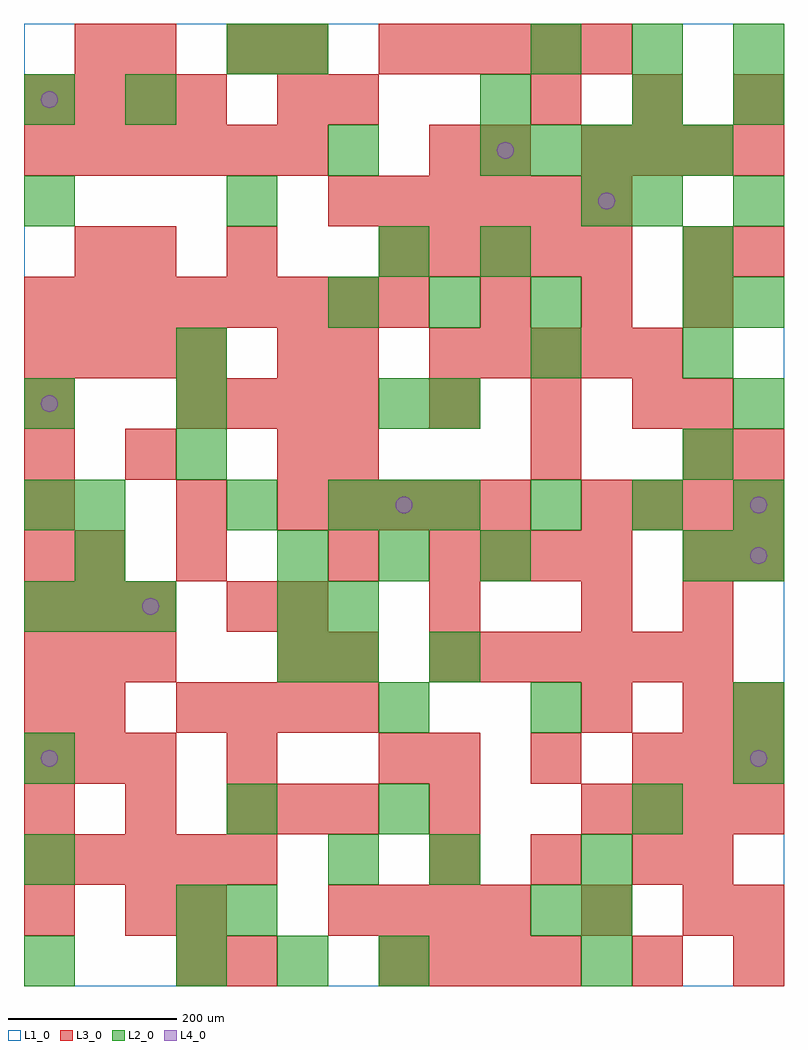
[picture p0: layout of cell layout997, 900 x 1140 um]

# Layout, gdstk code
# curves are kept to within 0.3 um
import gdstk
lib = gdstk.Library(unit=1e-6, precision=1e-09)
def R(c, l, rs):  # rectangles x0, y0, x1, y1
    for r in rs: c.add(gdstk.rectangle(r[:2], r[2:], *l))
def A(c, l, x, y, w, h, nx, ny, dx, dy):  # array of equal rectangles
    R(c, l, [(x+i*dx, y+j*dy, x+i*dx+w, y+j*dy+h) for i in range(nx) for j in range(ny)])
def P(c, l, *ps):  # polygons
    for p in ps: c.add(gdstk.Polygon(p, *l))
L1_0 = (1, 0)
L2_0 = (2, 0)
L3_0 = (3, 0)
L4_0 = (4, 0)

layout997 = lib.new_cell('layout997')
R(layout997, L1_0, [(0,0,900,1140)])
A(layout997, L2_0, 0, 0, 60, 60, 1, 3, 0, 120)
A(layout997, L2_0, 180, 0, 60, 60, 3, 1, 120, 0)
A(layout997, L2_0, 660, 0, 60, 60, 1, 3, 0, 60)
A(layout997, L2_0, 240, 180, 60, 60, 1, 3, 0, 360)
A(layout997, L2_0, 840, 300, 60, 60, 1, 3, 0, 180)
A(layout997, L2_0, 0, 420, 60, 60, 3, 1, 60, 0)
A(layout997, L2_0, 300, 480, 60, 60, 3, 1, 120, 0)
A(layout997, L2_0, 780, 480, 60, 60, 1, 3, 0, 120)
A(layout997, L2_0, 360, 540, 60, 60, 3, 1, 60, 0)
A(layout997, L2_0, 600, 540, 60, 60, 3, 2, 120, 540)
A(layout997, L2_0, 180, 600, 60, 60, 1, 3, 0, 60)
A(layout997, L2_0, 360, 780, 60, 60, 3, 1, 120, 0)
A(layout997, L2_0, 840, 780, 60, 60, 1, 3, 0, 120)
A(layout997, L2_0, 540, 960, 60, 60, 5, 1, 60, 0)
R(layout997, L2_0, [(180,60,240,120), (240,60,300,120), (600,60,660,120), (360,120,420,180), (480,120,540,180), (420,180,480,240), (720,180,780,240), (840,240,900,300), (420,300,480,360), (600,300,660,360), (300,360,360,420), (360,360,420,420), (480,360,540,420), (300,420,360,480), (360,420,420,480), (60,480,120,540), (0,540,60,600), (60,540,120,600), (0,660,60,720), (420,660,480,720), (480,660,540,720), (600,720,660,780), (780,780,840,840), (420,840,480,900), (540,840,600,900), (780,840,840,900), (0,900,60,960), (660,900,720,960), (720,900,780,960), (360,960,420,1020), (0,1020,60,1080), (120,1020,180,1080), (540,1020,600,1080), (720,1020,780,1080), (240,1080,300,1140), (300,1080,360,1140)])
A(layout997, L3_0, 420, 0, 60, 60, 4, 1, 60, 0)
A(layout997, L3_0, 360, 60, 60, 60, 4, 1, 60, 0)
A(layout997, L3_0, 0, 120, 60, 60, 5, 1, 60, 0)
A(layout997, L3_0, 480, 120, 60, 60, 3, 2, 120, 120)
A(layout997, L3_0, 0, 180, 60, 60, 3, 1, 120, 0)
A(layout997, L3_0, 660, 180, 60, 60, 4, 2, 60, 360)
A(layout997, L3_0, 0, 240, 60, 60, 3, 2, 60, 120)
A(layout997, L3_0, 180, 300, 60, 60, 4, 2, 60, 360)
A(layout997, L3_0, 360, 360, 60, 60, 1, 4, 0, 120)
A(layout997, L3_0, 480, 360, 60, 60, 6, 1, 60, 0)
A(layout997, L3_0, 0, 420, 60, 60, 3, 1, 60, 0)
A(layout997, L3_0, 300, 420, 60, 60, 3, 1, 180, 0)
A(layout997, L3_0, 0, 480, 60, 60, 1, 4, 0, 60)
A(layout997, L3_0, 480, 480, 60, 60, 4, 1, 60, 0)
A(layout997, L3_0, 300, 540, 60, 60, 5, 1, 60, 0)
A(layout997, L3_0, 120, 600, 60, 60, 1, 3, 0, 240)
A(layout997, L3_0, 480, 660, 60, 60, 3, 1, 120, 0)
A(layout997, L3_0, 0, 720, 60, 60, 4, 2, 60, 300)
A(layout997, L3_0, 480, 720, 60, 60, 5, 1, 60, 0)
A(layout997, L3_0, 0, 780, 60, 60, 8, 1, 60, 0)
A(layout997, L3_0, 540, 780, 60, 60, 3, 1, 120, 0)
A(layout997, L3_0, 420, 840, 60, 60, 5, 2, 60, 240)
A(layout997, L3_0, 360, 900, 60, 60, 6, 1, 60, 0)
A(layout997, L3_0, 0, 960, 60, 60, 6, 1, 60, 0)
A(layout997, L3_0, 660, 960, 60, 60, 4, 1, 60, 0)
A(layout997, L3_0, 600, 1020, 60, 60, 3, 1, 120, 0)
R(layout997, L3_0, [(180,0,240,60), (240,0,300,60), (720,0,780,60), (840,0,900,60), (0,60,60,120), (120,60,180,120), (180,60,240,120), (660,60,720,120), (780,60,840,120), (840,60,900,120), (780,120,840,180), (300,180,360,240), (360,180,420,240), (480,180,540,240), (240,240,300,300), (420,240,480,300), (780,240,840,300), (840,240,900,300), (0,300,60,360), (60,300,120,360), (660,300,720,360), (780,300,840,360), (840,300,900,360), (300,360,360,420), (240,420,300,480), (780,420,840,480), (60,480,120,540), (180,480,240,540), (780,480,840,540), (840,480,900,540), (180,540,240,600), (300,600,360,660), (600,600,660,660), (780,600,840,660), (840,600,900,660), (780,660,840,720), (300,720,360,780), (60,840,120,900), (240,840,300,900), (780,840,840,900), (840,840,900,900), (480,960,540,1020), (540,960,600,1020), (300,1020,360,1080), (360,1020,420,1080), (60,1080,120,1140), (240,1080,300,1140), (300,1080,360,1140)])
P(layout997, L4_0, [(40,270),(39.239,273.827),(37.071,277.071),(33.827,279.239),(30,280),(26.173,279.239),(22.929,277.071),(20.761,273.827),(20,270),(20.761,266.173),(22.929,262.929),(26.173,260.761),(30,260),(33.827,260.761),(37.071,262.929),(39.239,266.173)],
  [(40,690),(39.239,693.827),(37.071,697.071),(33.827,699.239),(30,700),(26.173,699.239),(22.929,697.071),(20.761,693.827),(20,690),(20.761,686.173),(22.929,682.929),(26.173,680.761),(30,680),(33.827,680.761),(37.071,682.929),(39.239,686.173)],
  [(40,1050),(39.239,1053.827),(37.071,1057.071),(33.827,1059.239),(30,1060),(26.173,1059.239),(22.929,1057.071),(20.761,1053.827),(20,1050),(20.761,1046.173),(22.929,1042.929),(26.173,1040.761),(30,1040),(33.827,1040.761),(37.071,1042.929),(39.239,1046.173)],
  [(160,450),(159.239,453.827),(157.071,457.071),(153.827,459.239),(150,460),(146.173,459.239),(142.929,457.071),(140.761,453.827),(140,450),(140.761,446.173),(142.929,442.929),(146.173,440.761),(150,440),(153.827,440.761),(157.071,442.929),(159.239,446.173)],
  [(460,570),(459.239,573.827),(457.071,577.071),(453.827,579.239),(450,580),(446.173,579.239),(442.929,577.071),(440.761,573.827),(440,570),(440.761,566.173),(442.929,562.929),(446.173,560.761),(450,560),(453.827,560.761),(457.071,562.929),(459.239,566.173)],
  [(580,990),(579.239,993.827),(577.071,997.071),(573.827,999.239),(570,1000),(566.173,999.239),(562.929,997.071),(560.761,993.827),(560,990),(560.761,986.173),(562.929,982.929),(566.173,980.761),(570,980),(573.827,980.761),(577.071,982.929),(579.239,986.173)],
  [(700,930),(699.239,933.827),(697.071,937.071),(693.827,939.239),(690,940),(686.173,939.239),(682.929,937.071),(680.761,933.827),(680,930),(680.761,926.173),(682.929,922.929),(686.173,920.761),(690,920),(693.827,920.761),(697.071,922.929),(699.239,926.173)],
  [(880,270),(879.239,273.827),(877.071,277.071),(873.827,279.239),(870,280),(866.173,279.239),(862.929,277.071),(860.761,273.827),(860,270),(860.761,266.173),(862.929,262.929),(866.173,260.761),(870,260),(873.827,260.761),(877.071,262.929),(879.239,266.173)],
  [(880,510),(879.239,513.827),(877.071,517.071),(873.827,519.239),(870,520),(866.173,519.239),(862.929,517.071),(860.761,513.827),(860,510),(860.761,506.173),(862.929,502.929),(866.173,500.761),(870,500),(873.827,500.761),(877.071,502.929),(879.239,506.173)],
  [(880,570),(879.239,573.827),(877.071,577.071),(873.827,579.239),(870,580),(866.173,579.239),(862.929,577.071),(860.761,573.827),(860,570),(860.761,566.173),(862.929,562.929),(866.173,560.761),(870,560),(873.827,560.761),(877.071,562.929),(879.239,566.173)])

lib.write_gds('layout997.gds')
